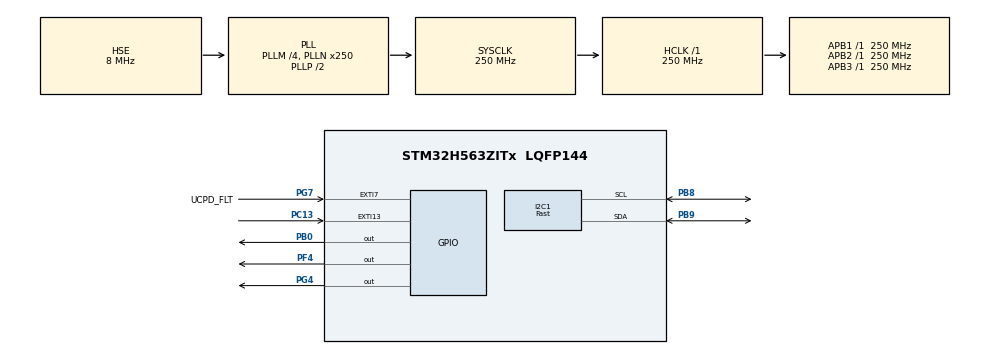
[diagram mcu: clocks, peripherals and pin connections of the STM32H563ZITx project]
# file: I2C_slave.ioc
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BOOTPATH.BootPathName=LEGACY
BOOTPATH.UserSelectedBootPath=LEGACY
CORTEX_M33_NS.userName=CORTEX_M33
I2C1.I2C_Speed_Mode=I2C_Fast
I2C1.OwnAddress=0x2a
I2C1.Timing=0x10C043E5
Mcu.Family=STM32H5
Mcu.Name=STM32H563ZITx
Mcu.Package=LQFP144
NUCLEO-H563ZI.BUTTON=1
NUCLEO-H563ZI.LD1=true
NUCLEO-H563ZI.LD2=true
NUCLEO-H563ZI.LD3=true
NUCLEO-H563ZI.VCP=true
NVIC.EXTI13_IRQn=true\:0\:0\:false\:false\:true\:false\:true\:true
NVIC.PriorityGroup=NVIC_PRIORITYGROUP_4
PA1.GPIO_Label=RMII_REF_CLK
PA1.GPIO_Mode=GPIO_MODE_AF_PP
PA1.GPIO_PuPd=GPIO_NOPULL
PA1.GPIO_Speed=GPIO_SPEED_FREQ_LOW
PA1.Signal=ETH_REF_CLK
PA11.GPIO_Label=USB_FS_N
PA11.Signal=USB_DM
PA12.GPIO_Label=USB_FS_P
PA12.Signal=USB_DP
PA13(JTMS/SWDIO).GPIO_Label=SWDIO
PA13(JTMS/SWDIO).Signal=DEBUG_JTMS-SWDIO
PA14(JTCK/SWCLK).GPIO_Label=SWCLK
PA14(JTCK/SWCLK).Signal=DEBUG_JTCK-SWCLK
PA15(JTDI).GPIO_Label=T_JTDI
PA15(JTDI).Signal=DEBUG_JTDI
PA2.GPIO_Label=RMII_MDIO
PA2.GPIO_Mode=GPIO_MODE_AF_PP
PA2.GPIO_PuPd=GPIO_NOPULL
PA2.GPIO_Speed=GPIO_SPEED_FREQ_LOW
PA2.Signal=ETH_MDIO
PA4.GPIO_Label=VBUS_SENSE
PA4.Signal=ADCx_INP18
PA7.GPIO_Label=RMII_CRS_DV
PA7.GPIO_Mode=GPIO_MODE_AF_PP
PA7.GPIO_PuPd=GPIO_NOPULL
PA7.GPIO_Speed=GPIO_SPEED_FREQ_LOW
PA7.Signal=ETH_CRS_DV
PA9.GPIO_Label=UCDP_DBn
PA9.Signal=UCPD1_DB1
PB0.Signal=GPIO_Output
PB13.GPIO_Label=UCPD_CC1
PB13.Signal=UCPD1_CC1
PB14.GPIO_Label=UCPD_CC2
PB14.Signal=UCPD1_CC2
PB15.GPIO_Label=RMII_TXD1
PB15.GPIO_Mode=GPIO_MODE_AF_PP
PB15.GPIO_PuPd=GPIO_NOPULL
PB15.GPIO_Speed=GPIO_SPEED_FREQ_LOW
PB15.Signal=ETH_TXD1
PB3(JTDO/TRACESWO).GPIO_Label=SWO
PB3(JTDO/TRACESWO).Signal=DEBUG_JTDO-SWO
PB6.GPIO_Label=ARD_D1_TX
PB6.Signal=LPUART1_TX
PB7.GPIO_Label=ARD_D0_RX
PB7.Signal=LPUART1_RX
PB8.GPIO_Pu=GPIO_PULLUP
PB8.GPIO_Speed=GPIO_SPEED_FREQ_VERY_HIGH
PB8.Mode=I2C
PB8.Signal=I2C1_SCL
PB9.GPIO_Pu=GPIO_PULLUP
PB9.GPIO_Speed=GPIO_SPEED_FREQ_VERY_HIGH
PB9.Mode=I2C
PB9.Signal=I2C1_SDA
PC1.GPIO_Label=RMII_MDC
PC1.GPIO_Mode=GPIO_MODE_AF_PP
PC1.GPIO_PuPd=GPIO_NOPULL
PC1.GPIO_Speed=GPIO_SPEED_FREQ_LOW
PC1.Signal=ETH_MDC
PC13.Signal=GPXTI13
PC14-OSC32_IN(OSC32_IN).Mode=LSE-External-Oscillator
PC14-OSC32_IN(OSC32_IN).Signal=RCC_OSC32_IN
PC15-OSC32_OUT(OSC32_OUT).Mode=LSE-External-Oscillator
PC15-OSC32_OUT(OSC32_OUT).Signal=RCC_OSC32_OUT
PC4.GPIO_Label=RMII_RXD0
PC4.GPIO_Mode=GPIO_MODE_AF_PP
PC4.GPIO_PuPd=GPIO_NOPULL
PC4.GPIO_Speed=GPIO_SPEED_FREQ_LOW
PC4.Signal=ETH_RXD0
PC5.GPIO_Label=RMII_RXD1
PC5.GPIO_Mode=GPIO_MODE_AF_PP
PC5.GPIO_PuPd=GPIO_NOPULL
PC5.GPIO_Speed=GPIO_SPEED_FREQ_LOW
PC5.Signal=ETH_RXD1
PD8.Signal=USART3_TX
PD9.Signal=USART3_RX
PE2.GPIO_Label=TRACE_CK
PE2.Signal=DEBUG_TRACECLK
PE3.GPIO_Label=TRACE_D0
PE3.Signal=DEBUG_TRACED0
PE4.GPIO_Label=TRACE_D1
PE4.Signal=DEBUG_TRACED1
PE5.GPIO_Label=TRACE_D2
PE5.Signal=DEBUG_TRACED2
PE6.GPIO_Label=TRACE_D3
PE6.Signal=DEBUG_TRACED3
PF4.Signal=GPIO_Output
PG11.GPIO_Label=RMII_TXT_EN
PG11.GPIO_Mode=GPIO_MODE_AF_PP
PG11.GPIO_PuPd=GPIO_NOPULL
PG11.GPIO_Speed=GPIO_SPEED_FREQ_LOW
PG11.Signal=ETH_TX_EN
PG13.GPIO_Label=RMI_TXD0
PG13.GPIO_Mode=GPIO_MODE_AF_PP
PG13.GPIO_PuPd=GPIO_NOPULL
PG13.GPIO_Speed=GPIO_SPEED_FREQ_LOW
PG13.Signal=ETH_TXD0
PG4.Signal=GPIO_Output
PG7.GPIO_Label=UCPD_FLT
PG7.Signal=GPXTI7
PH0-OSC_IN(PH0).GPIO_Label=STLK_MCO
PH0-OSC_IN(PH0).Mode=HSE-External-Clock-Source
PH0-OSC_IN(PH0).Signal=RCC_OSC_IN
ProjectManager.HeapSize=0x200
ProjectManager.StackSize=0x400
ProjectManager.TargetToolchain=STM32CubeIDE
RCC.ADCFreq_Value=250000000
RCC.AHBFreq_Value=250000000
RCC.APB1Freq_Value=250000000
RCC.APB1TimFreq_Value=250000000
RCC.APB2Freq_Value=250000000
RCC.APB2TimFreq_Value=250000000
RCC.APB3Freq_Value=250000000
RCC.CSI_VALUE=4000000
RCC.CortexFreq_Value=250000000
RCC.EPOD_VALUE=8000000
RCC.HCLKFreq_Value=250000000
RCC.HSE_VALUE=8000000
RCC.HSI48_VALUE=48000000
RCC.HSIDiv=RCC_HSI_DIV1
RCC.HSI_VALUE=64000000
RCC.LSIRC_VALUE=32000
RCC.PLLM=4
RCC.PLLN=250
RCC.PLLSourceVirtual=RCC_PLL1_SOURCE_HSE
RCC.SYSCLKFreq_VALUE=250000000
RCC.SYSCLKSource=RCC_SYSCLKSOURCE_PLLCLK
RCC.USBFreq_Value=48000000
RCC.VCOOutputFreq_Value=500000000
SH.ADCx_INP18.0=ADC1_INP18
VP_BOOTPATH_VS_BOOTPATH.Mode=BP_Activate
VP_CORTEX_M33_NS_VS_Hclk.Mode=Hclk_Mode
VP_MEMORYMAP_VS_MEMORYMAP.Mode=CurAppReg
VP_NUCLEO-H563ZI_VS_BSP_COMMON.Mode=COMMON
VP_PWR_VS_DBSignals.Mode=DisableDeadBatterySignals
VP_PWR_VS_LPOM.Mode=PowerOptimisation
VP_PWR_VS_SECSignals.Mode=Security/Privilege
board=NUCLEO-H563ZI

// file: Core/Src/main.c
/* USER CODE BEGIN Header */
/**
  ******************************************************************************
  * @file           : main.c
  * @brief          : Main program body
  ******************************************************************************
  * @attention
  *
  * Copyright (c) 2025 STMicroelectronics.
  * All rights reserved.
  *
  * This software is licensed under terms that can be found in the LICENSE file
  * in the root directory of this software component.
  * If no LICENSE file comes with this software, it is provided AS-IS.
  *
  ******************************************************************************
  */
/* USER CODE END Header */
#include "main.h"

COM_InitTypeDef BspCOMInit;

I2C_HandleTypeDef hi2c1;

/* USER CODE BEGIN PV */

#define		RXBUFSZ		16
uint8_t RX_Buffer[RXBUFSZ];

/* USER CODE END PV */

void SystemClock_Config(void);
static void MX_GPIO_Init(void);
static void MX_I2C1_Init(void);

int main(void)
{

  /* MCU Configuration--------------------------------------------------------*/

  /* Reset of all peripherals, Initializes the Flash interface and the Systick. */
  HAL_Init();

  /* Configure the system clock */
  SystemClock_Config();

  /* Initialize all configured peripherals */
  MX_GPIO_Init();
  MX_I2C1_Init();

  /* Initialize leds */
  BSP_LED_Init(LED_GREEN);
  BSP_LED_Init(LED_YELLOW);
  BSP_LED_Init(LED_RED);

  /* Initialize USER push-button, will be used to trigger an interrupt each time it's pressed.*/
  BSP_PB_Init(BUTTON_USER, BUTTON_MODE_EXTI);

  /* Initialize COM1 port (115200, 8 bits (7-bit data + 1 stop bit), no parity */
  BspCOMInit.BaudRate   = 115200;
  BspCOMInit.WordLength = COM_WORDLENGTH_8B;
  BspCOMInit.StopBits   = COM_STOPBITS_1;
  BspCOMInit.Parity     = COM_PARITY_NONE;
  BspCOMInit.HwFlowCtl  = COM_HWCONTROL_NONE;
  if (BSP_COM_Init(COM1, &BspCOMInit) != BSP_ERROR_NONE)
  {
    Error_Handler();
  }

  /* Infinite loop */
  /* USER CODE BEGIN WHILE */
  printf("Waiting for data...\r\n");
  int rx_size = 2;  /* Exact size; Does not work if received less or more bytes */
  while (1)
  {

	if (HAL_I2C_Slave_Receive(&hi2c1, (uint8_t *) RX_Buffer, rx_size, 100) == HAL_OK){
		BSP_LED_On(LED_GREEN);
		BSP_LED_Off(LED_RED);
		printf("Data: ");
		for (int i = 0; i < rx_size; i++) printf("0x%02x ", RX_Buffer[i]);
		printf("\r\n");
	} else {
		BSP_LED_Off(LED_GREEN);
		BSP_LED_On(LED_RED);
		/* printf("HAL not OK\r\n"); */
	}
	HAL_Delay(10);
	BSP_LED_Toggle(LED_YELLOW);
    /* USER CODE END WHILE */

  }
}

void SystemClock_Config(void)
{
  RCC_OscInitTypeDef RCC_OscInitStruct = {0};
  RCC_ClkInitTypeDef RCC_ClkInitStruct = {0};

  /** Configure the main internal regulator output voltage
  */
  __HAL_PWR_VOLTAGESCALING_CONFIG(PWR_REGULATOR_VOLTAGE_SCALE0);

  while(!__HAL_PWR_GET_FLAG(PWR_FLAG_VOSRDY)) {}

  /** Initializes the RCC Oscillators according to the specified parameters
  * in the RCC_OscInitTypeDef structure.
  */
  RCC_OscInitStruct.OscillatorType = RCC_OSCILLATORTYPE_HSE;
  RCC_OscInitStruct.HSEState = RCC_HSE_BYPASS;
  RCC_OscInitStruct.PLL.PLLState = RCC_PLL_ON;
  RCC_OscInitStruct.PLL.PLLSource = RCC_PLL1_SOURCE_HSE;
  RCC_OscInitStruct.PLL.PLLM = 4;
  RCC_OscInitStruct.PLL.PLLN = 250;
  RCC_OscInitStruct.PLL.PLLP = 2;
  RCC_OscInitStruct.PLL.PLLQ = 2;
  RCC_OscInitStruct.PLL.PLLR = 2;
  RCC_OscInitStruct.PLL.PLLRGE = RCC_PLL1_VCIRANGE_1;
  RCC_OscInitStruct.PLL.PLLVCOSEL = RCC_PLL1_VCORANGE_WIDE;
  RCC_OscInitStruct.PLL.PLLFRACN = 0;
  if (HAL_RCC_OscConfig(&RCC_OscInitStruct) != HAL_OK)
  {
    Error_Handler();
  }

  /** Initializes the CPU, AHB and APB buses clocks
  */
  RCC_ClkInitStruct.ClockType = RCC_CLOCKTYPE_HCLK|RCC_CLOCKTYPE_SYSCLK
                              |RCC_CLOCKTYPE_PCLK1|RCC_CLOCKTYPE_PCLK2
                              |RCC_CLOCKTYPE_PCLK3;
  RCC_ClkInitStruct.SYSCLKSource = RCC_SYSCLKSOURCE_PLLCLK;
  RCC_ClkInitStruct.AHBCLKDivider = RCC_SYSCLK_DIV1;
  RCC_ClkInitStruct.APB1CLKDivider = RCC_HCLK_DIV1;
  RCC_ClkInitStruct.APB2CLKDivider = RCC_HCLK_DIV1;
  RCC_ClkInitStruct.APB3CLKDivider = RCC_HCLK_DIV1;

  if (HAL_RCC_ClockConfig(&RCC_ClkInitStruct, FLASH_LATENCY_5) != HAL_OK)
  {
    Error_Handler();
  }

  /** Configure the programming delay
  */
  __HAL_FLASH_SET_PROGRAM_DELAY(FLASH_PROGRAMMING_DELAY_2);
}

static void MX_I2C1_Init(void)
{

  hi2c1.Instance = I2C1;
  hi2c1.Init.Timing = 0x10C043E5;
  hi2c1.Init.OwnAddress1 = 84;
  hi2c1.Init.AddressingMode = I2C_ADDRESSINGMODE_7BIT;
  hi2c1.Init.DualAddressMode = I2C_DUALADDRESS_DISABLE;
  hi2c1.Init.OwnAddress2 = 0;
  hi2c1.Init.OwnAddress2Masks = I2C_OA2_NOMASK;
  hi2c1.Init.GeneralCallMode = I2C_GENERALCALL_DISABLE;
  hi2c1.Init.NoStretchMode = I2C_NOSTRETCH_DISABLE;
  if (HAL_I2C_Init(&hi2c1) != HAL_OK)
  {
    Error_Handler();
  }

  /** Configure Analogue filter
  */
  if (HAL_I2CEx_ConfigAnalogFilter(&hi2c1, I2C_ANALOGFILTER_ENABLE) != HAL_OK)
  {
    Error_Handler();
  }

  /** Configure Digital filter
  */
  if (HAL_I2CEx_ConfigDigitalFilter(&hi2c1, 0) != HAL_OK)
  {
    Error_Handler();
  }

}

static void MX_GPIO_Init(void)
{
  GPIO_InitTypeDef GPIO_InitStruct = {0};

  /* GPIO Ports Clock Enable */
  __HAL_RCC_GPIOE_CLK_ENABLE();
  __HAL_RCC_GPIOC_CLK_ENABLE();
  __HAL_RCC_GPIOH_CLK_ENABLE();
  __HAL_RCC_GPIOA_CLK_ENABLE();
  __HAL_RCC_GPIOB_CLK_ENABLE();
  __HAL_RCC_GPIOG_CLK_ENABLE();

  /*Configure GPIO pins : RMII_MDC_Pin RMII_RXD0_Pin RMII_RXD1_Pin */
  GPIO_InitStruct.Pin = RMII_MDC_Pin|RMII_RXD0_Pin|RMII_RXD1_Pin;
  GPIO_InitStruct.Mode = GPIO_MODE_AF_PP;
  GPIO_InitStruct.Pull = GPIO_NOPULL;
  GPIO_InitStruct.Speed = GPIO_SPEED_FREQ_HIGH;
  GPIO_InitStruct.Alternate = GPIO_AF11_ETH;
  HAL_GPIO_Init(GPIOC, &GPIO_InitStruct);

  /*Configure GPIO pins : RMII_REF_CLK_Pin RMII_MDIO_Pin RMII_CRS_DV_Pin */
  GPIO_InitStruct.Pin = RMII_REF_CLK_Pin|RMII_MDIO_Pin|RMII_CRS_DV_Pin;
  GPIO_InitStruct.Mode = GPIO_MODE_AF_PP;
  GPIO_InitStruct.Pull = GPIO_NOPULL;
  GPIO_InitStruct.Speed = GPIO_SPEED_FREQ_HIGH;
  GPIO_InitStruct.Alternate = GPIO_AF11_ETH;
  HAL_GPIO_Init(GPIOA, &GPIO_InitStruct);

  /*Configure GPIO pin : VBUS_SENSE_Pin */
  GPIO_InitStruct.Pin = VBUS_SENSE_Pin;
  GPIO_InitStruct.Mode = GPIO_MODE_ANALOG;
  GPIO_InitStruct.Pull = GPIO_NOPULL;
  HAL_GPIO_Init(VBUS_SENSE_GPIO_Port, &GPIO_InitStruct);

  /*Configure GPIO pins : UCPD_CC1_Pin UCPD_CC2_Pin */
  GPIO_InitStruct.Pin = UCPD_CC1_Pin|UCPD_CC2_Pin;
  GPIO_InitStruct.Mode = GPIO_MODE_ANALOG;
  GPIO_InitStruct.Pull = GPIO_NOPULL;
  HAL_GPIO_Init(GPIOB, &GPIO_InitStruct);

  /*Configure GPIO pin : RMII_TXD1_Pin */
  GPIO_InitStruct.Pin = RMII_TXD1_Pin;
  GPIO_InitStruct.Mode = GPIO_MODE_AF_PP;
  GPIO_InitStruct.Pull = GPIO_NOPULL;
  GPIO_InitStruct.Speed = GPIO_SPEED_FREQ_HIGH;
  GPIO_InitStruct.Alternate = GPIO_AF11_ETH;
  HAL_GPIO_Init(RMII_TXD1_GPIO_Port, &GPIO_InitStruct);

  /*Configure GPIO pin : UCPD_FLT_Pin */
  GPIO_InitStruct.Pin = UCPD_FLT_Pin;
  GPIO_InitStruct.Mode = GPIO_MODE_IT_RISING;
  GPIO_InitStruct.Pull = GPIO_NOPULL;
  HAL_GPIO_Init(UCPD_FLT_GPIO_Port, &GPIO_InitStruct);

  /*Configure GPIO pins : USB_FS_N_Pin USB_FS_P_Pin */
  GPIO_InitStruct.Pin = USB_FS_N_Pin|USB_FS_P_Pin;
  GPIO_InitStruct.Mode = GPIO_MODE_AF_PP;
  GPIO_InitStruct.Pull = GPIO_NOPULL;
  GPIO_InitStruct.Speed = GPIO_SPEED_FREQ_LOW;
  GPIO_InitStruct.Alternate = GPIO_AF10_USB;
  HAL_GPIO_Init(GPIOA, &GPIO_InitStruct);

  /*Configure GPIO pins : RMII_TXT_EN_Pin RMI_TXD0_Pin */
  GPIO_InitStruct.Pin = RMII_TXT_EN_Pin|RMI_TXD0_Pin;
  GPIO_InitStruct.Mode = GPIO_MODE_AF_PP;
  GPIO_InitStruct.Pull = GPIO_NOPULL;
  GPIO_InitStruct.Speed = GPIO_SPEED_FREQ_HIGH;
  GPIO_InitStruct.Alternate = GPIO_AF11_ETH;
  HAL_GPIO_Init(GPIOG, &GPIO_InitStruct);

  /*Configure GPIO pins : ARD_D1_TX_Pin ARD_D0_RX_Pin */
  GPIO_InitStruct.Pin = ARD_D1_TX_Pin|ARD_D0_RX_Pin;
  GPIO_InitStruct.Mode = GPIO_MODE_AF_PP;
  GPIO_InitStruct.Pull = GPIO_NOPULL;
  GPIO_InitStruct.Speed = GPIO_SPEED_FREQ_LOW;
  GPIO_InitStruct.Alternate = GPIO_AF8_LPUART1;
  HAL_GPIO_Init(GPIOB, &GPIO_InitStruct);

}

void Error_Handler(void)
{
  __disable_irq();
  while (1)
  {
  }
}
